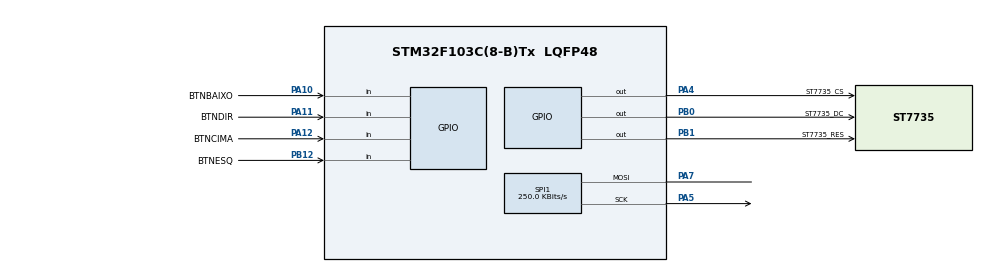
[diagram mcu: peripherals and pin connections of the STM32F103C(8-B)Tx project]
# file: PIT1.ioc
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Mcu.Family=STM32F1
Mcu.Name=STM32F103C(8-B)Tx
Mcu.Package=LQFP48
NVIC.PriorityGroup=NVIC_PRIORITYGROUP_4
NVIC.TIM2_IRQn=true\:0\:0\:false\:false\:true\:true\:true\:true
PA10.GPIO_Label=BTNBAIXO
PA10.GPIO_PuPd=GPIO_PULLUP
PA10.Signal=GPIO_Input
PA11.GPIO_Label=BTNDIR
PA11.GPIO_PuPd=GPIO_PULLUP
PA11.Signal=GPIO_Input
PA12.GPIO_Label=BTNCIMA
PA12.GPIO_PuPd=GPIO_PULLUP
PA12.Signal=GPIO_Input
PA13.Mode=Serial_Wire
PA13.Signal=SYS_JTMS-SWDIO
PA14.Mode=Serial_Wire
PA14.Signal=SYS_JTCK-SWCLK
PA4.GPIO_Label=ST7735_CS
PA4.Signal=GPIO_Output
PA5.Mode=Simplex_Bidirectional_Master
PA5.Signal=SPI1_SCK
PA7.Mode=Simplex_Bidirectional_Master
PA7.Signal=SPI1_MOSI
PB0.GPIO_Label=ST7735_DC
PB0.Signal=GPIO_Output
PB1.GPIO_Label=ST7735_RES
PB1.Signal=GPIO_Output
PB12.GPIO_Label=BTNESQ
PB12.GPIO_PuPd=GPIO_PULLUP
PB12.Signal=GPIO_Input
ProjectManager.HeapSize=0x200
ProjectManager.StackSize=0x400
ProjectManager.TargetToolchain=STM32CubeIDE
RCC.APB1Freq_Value=8000000
RCC.APB2Freq_Value=8000000
SPI1.BaudRatePrescaler=SPI_BAUDRATEPRESCALER_32
SPI1.CalculateBaudRate=250.0 KBits/s
SPI1.Direction=SPI_DIRECTION_1LINE
SPI1.Mode=SPI_MODE_MASTER
SPI1.VirtualType=VM_MASTER
TIM2.Period=49
TIM2.Prescaler=799
VP_TIM2_VS_ClockSourceINT.Mode=Internal
board=custom

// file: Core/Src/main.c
/* USER CODE BEGIN Header */
/**
  ******************************************************************************
  * @file           : main.c
  * @brief          : Main program body
  ******************************************************************************
  * @attention
  *
  * <h2><center>&copy; Copyright (c) 2026 STMicroelectronics.
  * All rights reserved.</center></h2>
  *
  * This software component is licensed by ST under BSD 3-Clause license,
  * the "License"; You may not use this file except in compliance with the
  * License. You may obtain a copy of the License at:
  *                        opensource.org/licenses/BSD-3-Clause
  *
  ******************************************************************************
  */
/* USER CODE END Header */
#include "main.h"

/* USER CODE BEGIN Includes */
#include "st7735\st7735.h"
#include<stdlib.h>
#include <stdio.h>
/* USER CODE END Includes */

/* USER CODE BEGIN PD */
#define MAX_TENT 3
#define MAX_ALUNOS_FORA 3
#define MAX_ALUNOS_SYS 99

#define TXTCOLOR WHITE
#define BGCOLOR BLACK

#define LER_BTNDIR()   HAL_GPIO_ReadPin(BTNDIR_GPIO_Port, BTNDIR_Pin)
#define LER_BTNESQ()   HAL_GPIO_ReadPin(BTNESQ_GPIO_Port, BTNESQ_Pin)
#define LER_BTNCIMA()  HAL_GPIO_ReadPin(BTNCIMA_GPIO_Port, BTNCIMA_Pin)
#define LER_BTNBAIXO() HAL_GPIO_ReadPin(BTNBAIXO_GPIO_Port, BTNBAIXO_Pin)
/* USER CODE END PD */

SPI_HandleTypeDef hspi1;

TIM_HandleTypeDef htim2;

/* USER CODE BEGIN PV */

volatile uint8_t blocked=0;

GPIO_PinState Debounced_BTNCIMA = GPIO_PIN_SET;
volatile uint8_t btn_event_BTNCIMA = 0;
static uint8_t Count_BTNCIMA=20;

GPIO_PinState Debounced_BTNBAIXO = GPIO_PIN_SET;
volatile uint8_t btn_event_BTNBAIXO = 0;
static uint8_t Count_BTNBAIXO=20;

GPIO_PinState Debounced_BTNESQ = GPIO_PIN_SET;
volatile uint8_t btn_event_BTNESQ = 0;
static uint8_t Count_BTNESQ=20;

GPIO_PinState Debounced_BTNDIR = GPIO_PIN_SET;
volatile uint8_t btn_event_BTNDIR = 0;
static uint8_t Count_BTNDIR=20;

volatile uint8_t inicio_aula = 1;
volatile uint8_t estagio_senha = 0;

volatile uint8_t config_inicial = 0;
volatile uint8_t is_init_config_inicial=0;

volatile uint8_t exe_aula = 0;
volatile uint8_t is_init_exe_aula = 0;

uint8_t user_digit = 0;
char user_digit_display[2];

char first_digit[2];
int8_t first_digit_num = -1;
char second_digit[2];
int8_t second_digit_num = -1;

char third_digit[2];
int8_t third_digit_num=-1;

char forth_digit[2];
int8_t forth_digit_num = -1;

char fifth_digit[2];
int8_t fifth_digit_num = -1;

char sixth_digit[2];
int8_t sixth_digit_num= -1;

uint8_t tentativas_senha = 0;

char max_quant_alunos_display[6];

uint8_t porcentagem;
uint16_t max_quant_alunos=0;
uint16_t quant_presentes=0;
uint8_t alunos_fora=0;

uint32_t total_saidas=0;

uint32_t tempo_inicial=0;
uint32_t tempo_final=0;

uint32_t saida1=0,saida2=0,saida3=0,tempototalfora=0;

/* USER CODE END PV */

void SystemClock_Config(void);
static void MX_GPIO_Init(void);
static void MX_SPI1_Init(void);
static void MX_TIM2_Init(void);
/* USER CODE BEGIN PFP */
void DebounceSwitch(GPIO_PinState raw, GPIO_PinState *debounced, uint8_t *counter);

void Aula_init(void);
void finish_incioAula(void);

void consume_btn_events(void);

void Do_action_dir_senha(uint32_t senha);
void Do_action_cima_senha(void);
void Do_action_baixo_senha(void);
void Do_action_esq_senha(void);
void AvaliarSenha(uint32_t senha);

void Do_action_cima_configInicial(void);
void Do_action_baixo_configInicial(void);
void Do_action_dir_configInicial(void);

void config_inicial_init(void);

void DrawProgressBar(uint16_t x, uint16_t y, uint16_t w, uint16_t h);
void update_aula_status(void);
void Do_action_cima_exe_aula(void);
void Do_action_esq_exe_aula(void);
void Do_action_dir_exe_aula(void);

void calcularTempo(uint32_t tempo_em_ms, uint32_t *horas, uint32_t *minutos, uint32_t *segundos);
uint32_t calcularTempoMedioForadaSala(void);
void EncerrarAula(void);

/* USER CODE END PFP */

int main(void)
{

  /* MCU Configuration--------------------------------------------------------*/

  /* Reset of all peripherals, Initializes the Flash interface and the Systick. */
  HAL_Init();

  /* Configure the system clock */
  SystemClock_Config();

  /* Initialize all configured peripherals */
  MX_GPIO_Init();
  MX_SPI1_Init();
  MX_TIM2_Init();
  /* USER CODE BEGIN 2 */
  ST7735_Init();
  HAL_TIM_Base_Start_IT(&htim2);

  user_digit_display[0]= user_digit+48;
  user_digit_display[1]= '\0';
  first_digit[1]= '\0';
  second_digit[1] = '\0';
  third_digit[1] = '\0';
  forth_digit[1] = '\0';
  fifth_digit[1] = '\0';
  sixth_digit[1] = '\0';

  Aula_init();

  uint32_t senha=0;

  /* USER CODE END 2 */

  /* Infinite loop */
  /* USER CODE BEGIN WHILE */
  while (1)
  {
	  if(!blocked){
      if(inicio_aula){
          if(btn_event_BTNBAIXO || btn_event_BTNCIMA || btn_event_BTNDIR || btn_event_BTNESQ){

              finish_incioAula();
              srand(HAL_GetTick());
              senha = 100000 + (rand() % (999999-100000+1));
              consume_btn_events();

          }

      }

      if(estagio_senha){
          if(btn_event_BTNDIR){
            Do_action_dir_senha(senha);

          }
          else if(btn_event_BTNESQ){
            Do_action_esq_senha();

          }
          else if(btn_event_BTNCIMA){
             Do_action_cima_senha();
          }
          else if(btn_event_BTNBAIXO){
             Do_action_baixo_senha();
          }
      }

      if(config_inicial){
          if(!is_init_config_inicial){
            config_inicial_init();
            is_init_config_inicial=1;
          }

          if(btn_event_BTNCIMA) Do_action_cima_configInicial();
          else if(btn_event_BTNBAIXO) Do_action_baixo_configInicial();
          else if(btn_event_BTNDIR) Do_action_dir_configInicial();

      }

      if(exe_aula){
    	  if(!is_init_exe_aula) {
    		  tempo_inicial = HAL_GetTick();
    		  update_aula_status();
    		  is_init_exe_aula=1;
    	  }
    	  else if(btn_event_BTNCIMA){
    		  HAL_Delay(50);
    		  if(btn_event_BTNBAIXO) EncerrarAula();
    		  else Do_action_cima_exe_aula();
    	  }
    	  else if(btn_event_BTNBAIXO){
    		  HAL_Delay(50);
    		  if(btn_event_BTNCIMA) EncerrarAula();
    		  else consume_btn_events();

    	  }
    	  else if(btn_event_BTNDIR) Do_action_dir_exe_aula();
    	  else if(btn_event_BTNESQ) Do_action_esq_exe_aula();
    	  }
	  }
    /* USER CODE END WHILE */

  }
}

void SystemClock_Config(void)
{
  RCC_OscInitTypeDef RCC_OscInitStruct = {0};
  RCC_ClkInitTypeDef RCC_ClkInitStruct = {0};

  /** Initializes the RCC Oscillators according to the specified parameters
  * in the RCC_OscInitTypeDef structure.
  */
  RCC_OscInitStruct.OscillatorType = RCC_OSCILLATORTYPE_HSI;
  RCC_OscInitStruct.HSIState = RCC_HSI_ON;
  RCC_OscInitStruct.HSICalibrationValue = RCC_HSICALIBRATION_DEFAULT;
  RCC_OscInitStruct.PLL.PLLState = RCC_PLL_NONE;
  if (HAL_RCC_OscConfig(&RCC_OscInitStruct) != HAL_OK)
  {
    Error_Handler();
  }
  /** Initializes the CPU, AHB and APB buses clocks
  */
  RCC_ClkInitStruct.ClockType = RCC_CLOCKTYPE_HCLK|RCC_CLOCKTYPE_SYSCLK
                              |RCC_CLOCKTYPE_PCLK1|RCC_CLOCKTYPE_PCLK2;
  RCC_ClkInitStruct.SYSCLKSource = RCC_SYSCLKSOURCE_HSI;
  RCC_ClkInitStruct.AHBCLKDivider = RCC_SYSCLK_DIV1;
  RCC_ClkInitStruct.APB1CLKDivider = RCC_HCLK_DIV1;
  RCC_ClkInitStruct.APB2CLKDivider = RCC_HCLK_DIV1;

  if (HAL_RCC_ClockConfig(&RCC_ClkInitStruct, FLASH_LATENCY_0) != HAL_OK)
  {
    Error_Handler();
  }
}

static void MX_SPI1_Init(void)
{

  /* SPI1 parameter configuration*/
  hspi1.Instance = SPI1;
  hspi1.Init.Mode = SPI_MODE_MASTER;
  hspi1.Init.Direction = SPI_DIRECTION_1LINE;
  hspi1.Init.DataSize = SPI_DATASIZE_8BIT;
  hspi1.Init.CLKPolarity = SPI_POLARITY_LOW;
  hspi1.Init.CLKPhase = SPI_PHASE_1EDGE;
  hspi1.Init.NSS = SPI_NSS_SOFT;
  hspi1.Init.BaudRatePrescaler = SPI_BAUDRATEPRESCALER_32;
  hspi1.Init.FirstBit = SPI_FIRSTBIT_MSB;
  hspi1.Init.TIMode = SPI_TIMODE_DISABLE;
  hspi1.Init.CRCCalculation = SPI_CRCCALCULATION_DISABLE;
  hspi1.Init.CRCPolynomial = 10;
  if (HAL_SPI_Init(&hspi1) != HAL_OK)
  {
    Error_Handler();
  }

}

static void MX_TIM2_Init(void)
{

  TIM_ClockConfigTypeDef sClockSourceConfig = {0};
  TIM_MasterConfigTypeDef sMasterConfig = {0};

  htim2.Instance = TIM2;
  htim2.Init.Prescaler = 799;
  htim2.Init.CounterMode = TIM_COUNTERMODE_UP;
  htim2.Init.Period = 49;
  htim2.Init.ClockDivision = TIM_CLOCKDIVISION_DIV1;
  htim2.Init.AutoReloadPreload = TIM_AUTORELOAD_PRELOAD_DISABLE;
  if (HAL_TIM_Base_Init(&htim2) != HAL_OK)
  {
    Error_Handler();
  }
  sClockSourceConfig.ClockSource = TIM_CLOCKSOURCE_INTERNAL;
  if (HAL_TIM_ConfigClockSource(&htim2, &sClockSourceConfig) != HAL_OK)
  {
    Error_Handler();
  }
  sMasterConfig.MasterOutputTrigger = TIM_TRGO_RESET;
  sMasterConfig.MasterSlaveMode = TIM_MASTERSLAVEMODE_DISABLE;
  if (HAL_TIMEx_MasterConfigSynchronization(&htim2, &sMasterConfig) != HAL_OK)
  {
    Error_Handler();
  }

}

static void MX_GPIO_Init(void)
{
  GPIO_InitTypeDef GPIO_InitStruct = {0};

  /* GPIO Ports Clock Enable */
  __HAL_RCC_GPIOA_CLK_ENABLE();
  __HAL_RCC_GPIOB_CLK_ENABLE();

  /*Configure GPIO pin Output Level */
  HAL_GPIO_WritePin(ST7735_CS_GPIO_Port, ST7735_CS_Pin, GPIO_PIN_RESET);

  /*Configure GPIO pin Output Level */
  HAL_GPIO_WritePin(GPIOB, ST7735_DC_Pin|ST7735_RES_Pin, GPIO_PIN_RESET);

  /*Configure GPIO pin : ST7735_CS_Pin */
  GPIO_InitStruct.Pin = ST7735_CS_Pin;
  GPIO_InitStruct.Mode = GPIO_MODE_OUTPUT_PP;
  GPIO_InitStruct.Pull = GPIO_NOPULL;
  GPIO_InitStruct.Speed = GPIO_SPEED_FREQ_LOW;
  HAL_GPIO_Init(ST7735_CS_GPIO_Port, &GPIO_InitStruct);

  /*Configure GPIO pins : ST7735_DC_Pin ST7735_RES_Pin */
  GPIO_InitStruct.Pin = ST7735_DC_Pin|ST7735_RES_Pin;
  GPIO_InitStruct.Mode = GPIO_MODE_OUTPUT_PP;
  GPIO_InitStruct.Pull = GPIO_NOPULL;
  GPIO_InitStruct.Speed = GPIO_SPEED_FREQ_LOW;
  HAL_GPIO_Init(GPIOB, &GPIO_InitStruct);

  /*Configure GPIO pin : BTNESQ_Pin */
  GPIO_InitStruct.Pin = BTNESQ_Pin;
  GPIO_InitStruct.Mode = GPIO_MODE_INPUT;
  GPIO_InitStruct.Pull = GPIO_PULLUP;
  HAL_GPIO_Init(BTNESQ_GPIO_Port, &GPIO_InitStruct);

  /*Configure GPIO pins : BTNBAIXO_Pin BTNDIR_Pin BTNCIMA_Pin */
  GPIO_InitStruct.Pin = BTNBAIXO_Pin|BTNDIR_Pin|BTNCIMA_Pin;
  GPIO_InitStruct.Mode = GPIO_MODE_INPUT;
  GPIO_InitStruct.Pull = GPIO_PULLUP;
  HAL_GPIO_Init(GPIOA, &GPIO_InitStruct);

}

/* USER CODE BEGIN 4 */
void DebounceSwitch(GPIO_PinState raw, GPIO_PinState *debounced, uint8_t *counter){
    if(raw == *debounced) *counter = 20;
    else{
        if(--(*counter)==0){
            *debounced = raw;
            *counter= 20;
        }
    }
}
void HAL_TIM_PeriodElapsedCallback(TIM_HandleTypeDef *htim)
{
    GPIO_PinState raw_btncima= LER_BTNCIMA();
    GPIO_PinState old_btncima = Debounced_BTNCIMA;
    DebounceSwitch(raw_btncima, &Debounced_BTNCIMA, &Count_BTNCIMA);
    if(old_btncima == GPIO_PIN_SET && Debounced_BTNCIMA == GPIO_PIN_RESET){
        btn_event_BTNCIMA =1;
    }

    GPIO_PinState raw_btnbaixo= LER_BTNBAIXO();
    GPIO_PinState old_btnbaixo = Debounced_BTNBAIXO;
    DebounceSwitch(raw_btnbaixo, &Debounced_BTNBAIXO, &Count_BTNBAIXO);
    if(old_btnbaixo == GPIO_PIN_SET && Debounced_BTNBAIXO == GPIO_PIN_RESET){
        btn_event_BTNBAIXO =1;
    }
    GPIO_PinState raw_btnesq= LER_BTNESQ();
    GPIO_PinState old_btnesq = Debounced_BTNESQ ;
    DebounceSwitch(raw_btnesq, &Debounced_BTNESQ, &Count_BTNESQ);
    if(old_btnesq == GPIO_PIN_SET && Debounced_BTNESQ == GPIO_PIN_RESET){
        btn_event_BTNESQ =1;
    }
    GPIO_PinState raw_btndir= LER_BTNDIR();
    GPIO_PinState old_btndir = Debounced_BTNDIR;
    DebounceSwitch(raw_btndir, &Debounced_BTNDIR, &Count_BTNDIR);
    if(old_btndir == GPIO_PIN_SET && Debounced_BTNDIR == GPIO_PIN_RESET){
        btn_event_BTNDIR =1;
    }

}

void Aula_init(void){
    ST7735_FillScreen(BGCOLOR);
    ST7735_WriteString(0, 0, "Clique em qualquer  botao para iniciar.", Font_7x10, TXTCOLOR, BGCOLOR);
}

void finish_incioAula(void){
    inicio_aula = 0;
    estagio_senha = 1;
    ST7735_FillScreen(BGCOLOR);
    ST7735_WriteString(0, 0, "Insira a senha", Font_7x10, TXTCOLOR, BGCOLOR);
    ST7735_WriteString(0, 20, user_digit_display, Font_7x10, TXTCOLOR, BGCOLOR);
    consume_btn_events();
}

void consume_btn_events(void){
    btn_event_BTNBAIXO=0;
    btn_event_BTNCIMA=0;
    btn_event_BTNDIR=0;
    btn_event_BTNESQ =0;
}

void AvaliarSenha(uint32_t senha){
    tentativas_senha++;
    uint32_t user_senha = first_digit_num*100000 + second_digit_num*10000 + third_digit_num*1000 + forth_digit_num*100 + fifth_digit_num*10 + sixth_digit_num;
    if(user_senha == senha){
        tentativas_senha=0;
        estagio_senha =0;
        config_inicial=1;
        ST7735_FillScreenFast(BGCOLOR);
        ST7735_WriteString(40, 0, "Senha",Font_16x26 , TXTCOLOR, BGCOLOR);
        ST7735_WriteString(16, 27, "Correta!",Font_16x26 , TXTCOLOR, BGCOLOR);
        HAL_Delay(2000);

    }

    else{
        ST7735_FillScreenFast(BGCOLOR);
        ST7735_WriteString(40, 0, "Senha",Font_16x26 , TXTCOLOR, BGCOLOR);
        ST7735_WriteString(0, 27, "Incorreta",Font_16x26 , TXTCOLOR, BGCOLOR);
        HAL_Delay(1000);

        if(tentativas_senha==MAX_TENT){
            ST7735_FillScreenFast(BGCOLOR);
            ST7735_WriteString(32, 0, "Acesso",Font_16x26 , TXTCOLOR, BGCOLOR);
            ST7735_WriteString(8, 52, "Bloqueado", Font_16x26, TXTCOLOR, BGCOLOR);
            blocked=1;
            return;

        }

        first_digit_num = -1; second_digit_num =-1; third_digit_num=-1; forth_digit_num=-1; fifth_digit_num=-1; sixth_digit_num=-1;

        ST7735_FillScreen(BGCOLOR);
        ST7735_WriteString(0, 0, "Insira a senha", Font_7x10, TXTCOLOR, BGCOLOR);
        ST7735_WriteString(0, 20, user_digit_display , Font_7x10, TXTCOLOR, BGCOLOR);

    }
}

void Do_action_dir_senha(uint32_t senha){

     if(first_digit_num<0) {
         first_digit[0] = user_digit+48;
         first_digit_num = user_digit;
         ST7735_WriteString(59, 45, first_digit, Font_7x10, TXTCOLOR, BGCOLOR);

     }
     else if(second_digit_num<0){
         second_digit[0] = user_digit+48;
         second_digit_num = user_digit;
         ST7735_WriteString(59+7, 45, second_digit, Font_7x10, TXTCOLOR, BGCOLOR);

     }
     else if(third_digit_num<0){
         third_digit[0] = user_digit+48;
         third_digit_num = user_digit;
         ST7735_WriteString(2*7+59, 45, third_digit, Font_7x10, TXTCOLOR, BGCOLOR);
     }
     else if(forth_digit_num<0){
         forth_digit[0] = user_digit+48;
         forth_digit_num = user_digit;
         ST7735_WriteString(3*7+59, 45, forth_digit, Font_7x10, TXTCOLOR, BGCOLOR);
     }
     else if(fifth_digit_num<0){
         fifth_digit[0] = user_digit + 48;
         fifth_digit_num = user_digit;
         ST7735_WriteString(4*7+59, 45, fifth_digit, Font_7x10, TXTCOLOR, BGCOLOR);
     }
     else if(sixth_digit_num<0){
         sixth_digit[0] = user_digit + 48;
         sixth_digit_num = user_digit;
         ST7735_WriteString(5*7+59, 45, sixth_digit, Font_7x10, TXTCOLOR, BGCOLOR);

     }
     else{
           AvaliarSenha(senha);
     }

     consume_btn_events();
}

void Do_action_cima_senha(void){
     if(user_digit !=9) user_digit++;
     else  user_digit =0;

     user_digit_display[0]= user_digit+48;

     ST7735_WriteString(0, 20, user_digit_display, Font_7x10, TXTCOLOR, BGCOLOR);

     consume_btn_events();
}

void Do_action_baixo_senha(void){
     if(user_digit !=0) user_digit--;
     else user_digit = 9;

     user_digit_display[0]= user_digit+48;

     ST7735_WriteString(0, 20, user_digit_display, Font_7x10, TXTCOLOR, BGCOLOR);

     consume_btn_events();
}

void Do_action_esq_senha(void){
    if(sixth_digit_num>=0){
    	ST7735_FillRectangleFast(5*7+59, 45, 5*7+59+7, 50, BGCOLOR);
    	sixth_digit_num=-1;
    }
    else if(fifth_digit_num>=0){
    	ST7735_FillRectangleFast(4*7+59, 45, 4*7+59+7, 55, BGCOLOR);
    	fifth_digit_num=-1;
    }
    else if(forth_digit_num>=0) {
    	ST7735_FillRectangleFast(3*7+59, 45, 3*7+59+7, 55, BGCOLOR);
    	forth_digit_num=-1;
    }
    else if(third_digit_num>=0) {
    	ST7735_FillRectangleFast(2*7+59, 45, 2*7+59+7, 55, BGCOLOR);
    	third_digit_num=-1;
    }
    else if(second_digit_num>=0){
    	ST7735_FillRectangleFast(1*7+59, 45, 1*7+59+7, 55, BGCOLOR);
    	second_digit_num=-1;
    }
    else if(first_digit_num>=0){
    	ST7735_FillRectangleFast(59, 45, 59+7, 55, BGCOLOR);
    	first_digit_num=-1;
    }
    consume_btn_events();
}

void config_inicial_init(void){
	ST7735_FillScreenFast(BGCOLOR);
    ST7735_WriteString(0, 0, "Max. de alunos na sala", Font_7x10, TXTCOLOR, BGCOLOR);
    sprintf(max_quant_alunos_display, "%u", max_quant_alunos);
    ST7735_WriteString(69, 30, max_quant_alunos_display, Font_11x18, TXTCOLOR, BGCOLOR);

}

void Do_action_cima_configInicial(void){
    if(max_quant_alunos<MAX_ALUNOS_SYS){
        max_quant_alunos++;
        sprintf(max_quant_alunos_display, "%u", max_quant_alunos);
        ST7735_WriteString(69, 30, max_quant_alunos_display, Font_11x18, TXTCOLOR, BGCOLOR);

    }
    consume_btn_events();
}
void Do_action_baixo_configInicial(void){

    if(max_quant_alunos>0){
        max_quant_alunos--;
        sprintf(max_quant_alunos_display, "%-2u", max_quant_alunos);
        ST7735_WriteString(69, 30, max_quant_alunos_display, Font_11x18, TXTCOLOR, BGCOLOR);

    }
    consume_btn_events();
}
void Do_action_dir_configInicial(void){
    consume_btn_events();
    if(max_quant_alunos==0){
     ST7735_FillScreenFast(BGCOLOR);
     ST7735_WriteString(0, 0, "A sala deve possuir ao menos 1 aluno.", Font_7x10, TXTCOLOR, BGCOLOR);
     HAL_Delay(5000);
     config_inicial_init();
}
    else{
        ST7735_FillScreenFast(BGCOLOR);
        ST7735_WriteString(0, 0, "Max. de alunos salvo.", Font_7x10, TXTCOLOR, BGCOLOR);
        HAL_Delay(5000);
        config_inicial =0;
        exe_aula=1;
    }

    }

void DrawProgressBar(uint16_t x, uint16_t y, uint16_t w, uint16_t h)
{
    porcentagem = (quant_presentes * 100) / max_quant_alunos;
    ST7735_FillRectangle(x, y, w, 1, WHITE);
    ST7735_FillRectangle(x, y + h, w, 1, WHITE);
    ST7735_FillRectangle(x, y, 1, h, WHITE);
    ST7735_FillRectangle(x + w, y, 1, h, WHITE);
    ST7735_FillRectangle(x+1, y+1, w-2, h-2, BLACK);
    uint16_t fill = (w * porcentagem) / 100;

   if (fill > 2)
   {
       ST7735_FillRectangle(x+1, y+1, fill-2, h-2, GREEN);
   }
}

void update_aula_status(void){

	ST7735_FillScreenFast(BGCOLOR);
	char display_alunos_fora[10];
	if(alunos_fora<MAX_ALUNOS_FORA) sprintf(display_alunos_fora, "FORA: %u", alunos_fora);
	else sprintf(display_alunos_fora, "FORA: MAX");

	char indicador_em_sala[20];
	sprintf(indicador_em_sala ,"%u/%u",quant_presentes, max_quant_alunos);

	DrawProgressBar(20, 70, 100, 15);
	ST7735_WriteString(0, 0, indicador_em_sala, Font_7x10, TXTCOLOR, BGCOLOR);
    ST7735_WriteString(67, 0, display_alunos_fora, Font_7x10, TXTCOLOR, BGCOLOR);

}

void Do_action_cima_exe_aula(void){
	consume_btn_events();
	ST7735_FillScreenFast(BGCOLOR);

	if(quant_presentes==max_quant_alunos){

		ST7735_WriteString(0, 0, "Todos alunos presentes", Font_7x10, TXTCOLOR, BGCOLOR);
		HAL_Delay(5000);

	}

	else{
		quant_presentes++;
	    uint16_t matricula = 100 +(rand() % (999-100+1));
	    char display_matricula[20];
	    sprintf(display_matricula, "Matricula: %u", matricula);
	    ST7735_WriteString(0, 0, "Aluno identificado!", Font_7x10, TXTCOLOR, BGCOLOR);
	    ST7735_WriteString(0, 15, display_matricula, Font_7x10, TXTCOLOR, BGCOLOR);
	    HAL_Delay(2000);

	}

	update_aula_status();
}

void Do_action_esq_exe_aula(void){
	consume_btn_events();
	if(alunos_fora==MAX_ALUNOS_FORA || alunos_fora==quant_presentes ){
		ST7735_FillScreenFast(BGCOLOR);
		ST7735_WriteString(0, 0, "Maximo de alunos fora.", Font_7x10, TXTCOLOR, BGCOLOR);
		HAL_Delay(3000);
		}
	else{

		alunos_fora++;
		total_saidas++;
		if(saida1==0) saida1 = HAL_GetTick();
		else if(saida2==0) saida2 = HAL_GetTick();
		else if(saida3==0) saida3 = HAL_GetTick();
	}

	update_aula_status();

}

void Do_action_dir_exe_aula(void){
	consume_btn_events();
	if(alunos_fora!=0){
		alunos_fora--;
		update_aula_status();
		if(saida1!=0){
			tempototalfora += HAL_GetTick() - saida1;
			saida1=0;
		}
		else if(saida2!=0){
			tempototalfora += HAL_GetTick() - saida2;
			saida2=0;
		}
		else if(saida3!=0){
			tempototalfora += HAL_GetTick() - saida3;
			saida3=0;
		}
	}
}

uint32_t calcularTempoMedioForadaSala(void){
	return tempototalfora/total_saidas;
}

void calcularTempo(uint32_t tempo_em_ms, uint32_t *horas, uint32_t *minutos, uint32_t *segundos){

	uint32_t total_segundos = tempo_em_ms/1000;

	*horas = total_segundos/3600;
	*minutos = (total_segundos % 3600)/60;
	*segundos = (total_segundos % 3600) % 60;

}
void EncerrarAula(void){
	tempo_final= HAL_GetTick();
	consume_btn_events();
	exe_aula=0;
	ST7735_FillScreenFast(BGCOLOR);
	char display_total_saidas[30];
	sprintf(display_total_saidas, "Total de saidas %lu", total_saidas);
	char display_registrados[30];
	sprintf(display_registrados, "Alunos registrados: %u", quant_presentes);

	uint32_t horas_aula,minutos_aula,segundos_aula,horas_fora,minutos_fora,segundos_fora;

	uint32_t diferenca = tempo_final-tempo_inicial;
    calcularTempo(diferenca, &horas_aula, &minutos_aula, &segundos_aula);
    char display_tempo_de_aula[35];
    sprintf(display_tempo_de_aula, "Temp. aula:%lu:%lu:%lu", horas_aula,minutos_aula,segundos_aula);

    if(saida1!=0){
    			tempototalfora += HAL_GetTick() - saida1;
    			saida1=0;
    		}
    		 if(saida2!=0){
    			tempototalfora += HAL_GetTick() - saida2;
    			saida2=0;
    		}
    		 if(saida3!=0){
    			tempototalfora += HAL_GetTick() - saida3;
    			saida3=0;
    		}

 	 char display_media_fora[30];
 	 uint32_t tempo_medio_fora= calcularTempoMedioForadaSala();
 	 calcularTempo(tempo_medio_fora, &horas_fora, &minutos_fora, &segundos_fora);
 	 sprintf(display_media_fora, "Media Tfora:%lu:%lu:%lu", horas_fora,minutos_fora,segundos_fora);

	ST7735_WriteString(0, 0, display_registrados, Font_7x10, TXTCOLOR, BGCOLOR);
	ST7735_WriteString(0, 15, display_total_saidas, Font_7x10, TXTCOLOR, BGCOLOR);
	ST7735_WriteString(0, 30 , display_tempo_de_aula, Font_7x10, TXTCOLOR, BGCOLOR);
    ST7735_WriteString(0, 45 , display_media_fora, Font_7x10, TXTCOLOR, BGCOLOR);
}

/* USER CODE END 4 */

void Error_Handler(void)
{
  __disable_irq();
  while (1)
  {
  }
}

/************************ (C) COPYRIGHT STMicroelectronics *****END OF FILE****/
